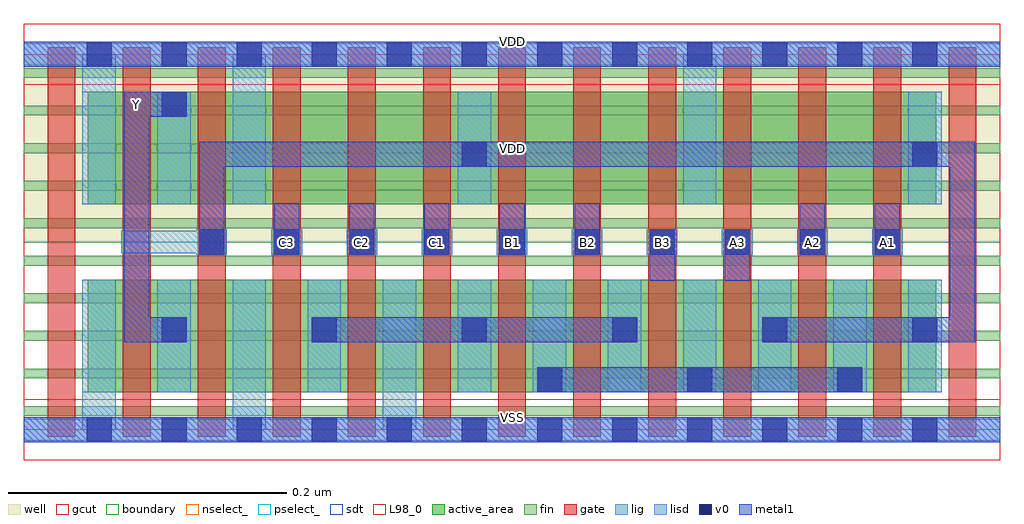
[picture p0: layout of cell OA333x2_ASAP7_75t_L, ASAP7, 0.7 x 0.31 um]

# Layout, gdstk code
import gdstk
lib = gdstk.Library(unit=1e-6, precision=2.5e-10)
def R(c, l, rs):  # rectangles x0, y0, x1, y1
    for r in rs: c.add(gdstk.rectangle(r[:2], r[2:], *l))
def A(c, l, x, y, w, h, nx, ny, dx, dy):  # array of equal rectangles
    R(c, l, [(x+i*dx, y+j*dy, x+i*dx+w, y+j*dy+h) for i in range(nx) for j in range(ny)])
def P(c, l, *ps):  # polygons
    for p in ps: c.add(gdstk.Polygon(p, *l))
well = (1, 0)
fin = (2, 0)
gate = (7, 0)
gcut = (10, 0)
active_area = (11, 0)
nselect_ = (12, 0)
pselect_ = (13, 0)
lig = (16, 0)
lisd = (17, 0)
v0 = (18, 0)
metal1 = (19, 0)
sdt = (88, 0)
L98_0 = (98, 0)
boundary = (100, 0)

oa333x2_asap7_75t_l = lib.new_cell('OA333x2_ASAP7_75t_L')
R(oa333x2_asap7_75t_l, well, [(0,0.135,0.702,0.27)])
A(oa333x2_asap7_75t_l, fin, 0, 0.01, 0.702, 0.007, 1, 10, 0, 0.027)
A(oa333x2_asap7_75t_l, gate, 0.017, -0.005, 0.02, 0.28, 13, 1, 0.054, 0)
R(oa333x2_asap7_75t_l, gcut, [(0,-0.022,0.702,0.022), (0,0.248,0.702,0.292)])
R(oa333x2_asap7_75t_l, active_area, [(0.046,0.027,0.656,0.108), (0.046,0.162,0.656,0.243)])
R(oa333x2_asap7_75t_l, nselect_, [(0,0,0.702,0.135)])
R(oa333x2_asap7_75t_l, pselect_, [(0,0.135,0.702,0.27)])
A(oa333x2_asap7_75t_l, lig, 0.124, 0.126, 0.022, 0.018, 10, 1, 0.054, 0)
R(oa333x2_asap7_75t_l, lig, [(0,-0.008,0.702,0.008), (0.07,0.127,0.146,0.143), (0,0.262,0.702,0.278)])
A(oa333x2_asap7_75t_l, lisd, 0.096, 0.027, 0.024, 0.081, 3, 1, 0.108, 0)
A(oa333x2_asap7_75t_l, lisd, 0.366, 0.027, 0.024, 0.081, 6, 1, 0.054, 0)
R(oa333x2_asap7_75t_l, lisd, [(0.042,0,0.066,0.108), (0.042,0,0.066,0.108), (0.15,0,0.174,0.108), (0.15,0,0.174,0.108), (0.258,0,0.282,0.108), (0.258,0,0.282,0.108), (0.042,0.162,0.066,0.27), (0.042,0.162,0.066,0.27), (0.096,0.162,0.12,0.243), (0.15,0.162,0.174,0.27), (0.15,0.162,0.174,0.27), (0.312,0.162,0.336,0.243), (0.474,0.162,0.498,0.27), (0.474,0.162,0.498,0.27), (0.636,0.162,0.66,0.243)])
A(oa333x2_asap7_75t_l, v0, 0.045, -0.009, 0.018, 0.018, 12, 2, 0.054, 0.27)
A(oa333x2_asap7_75t_l, v0, 0.369, 0.027, 0.018, 0.018, 3, 1, 0.108, 0)
A(oa333x2_asap7_75t_l, v0, 0.099, 0.063, 0.018, 0.018, 6, 1, 0.108, 0)
A(oa333x2_asap7_75t_l, v0, 0.126, 0.126, 0.018, 0.018, 10, 1, 0.054, 0)
R(oa333x2_asap7_75t_l, v0, [(0.315,0.189,0.333,0.207), (0.639,0.189,0.657,0.207), (0.099,0.225,0.117,0.243)])
A(oa333x2_asap7_75t_l, metal1, 0.369, 0.027, 0.018, 0.018, 3, 1, 0.108, 0)
A(oa333x2_asap7_75t_l, metal1, 0.099, 0.063, 0.018, 0.018, 6, 1, 0.108, 0)
A(oa333x2_asap7_75t_l, metal1, 0.126, 0.126, 0.018, 0.018, 10, 1, 0.054, 0)
A(oa333x2_asap7_75t_l, metal1, 0.18, 0.126, 0.018, 0.037, 5, 1, 0.054, 0)
R(oa333x2_asap7_75t_l, metal1, [(0,-0.009,0.702,0.009), (0.369,0.027,0.603,0.045), (0.207,0.063,0.441,0.081), (0.45,0.107,0.468,0.144), (0.504,0.107,0.522,0.144), (0.558,0.126,0.576,0.163), (0.612,0.126,0.63,0.163), (0.315,0.189,0.333,0.207), (0.639,0.189,0.657,0.207), (0.099,0.225,0.117,0.243), (0,0.261,0.702,0.279)])
P(oa333x2_asap7_75t_l, metal1, [(0.126,0.207),(0.126,0.126),(0.144,0.126),(0.144,0.189),(0.666,0.189),(0.666,0.081),(0.531,0.081),(0.531,0.063),(0.684,0.063),(0.684,0.207)],
  [(0.117,0.081),(0.09,0.081),(0.09,0.225),(0.117,0.225),(0.117,0.243),(0.072,0.243),(0.072,0.063),(0.117,0.063)])
A(oa333x2_asap7_75t_l, sdt, 0.042, 0.027, 0.024, 0.081, 3, 2, 0.054, 0.135)
A(oa333x2_asap7_75t_l, sdt, 0.15, 0.027, 0.024, 0.081, 3, 1, 0.054, 0)
A(oa333x2_asap7_75t_l, sdt, 0.258, 0.027, 0.024, 0.081, 8, 1, 0.054, 0)
A(oa333x2_asap7_75t_l, sdt, 0.15, 0.162, 0.024, 0.081, 3, 1, 0.162, 0)
R(oa333x2_asap7_75t_l, sdt, [(0.042,0.027,0.066,0.108), (0.042,0.162,0.066,0.243), (0.474,0.162,0.498,0.243), (0.636,0.162,0.66,0.243)])
R(oa333x2_asap7_75t_l, L98_0, [(0,0,0.702,0.27)])
R(oa333x2_asap7_75t_l, boundary, [(0,0,0.702,0.27)])
oa333x2_asap7_75t_l.add(gdstk.Label('VDD', (0.351,0.2025), layer=1, texttype=251))
oa333x2_asap7_75t_l.add(gdstk.Label('VSS', (0.351,-0.0675), layer=3, texttype=251))
oa333x2_asap7_75t_l.add(gdstk.Label('VSS', (0.351,0.009), layer=19, texttype=251))
oa333x2_asap7_75t_l.add(gdstk.Label('VDD', (0.351,0.279), layer=19, texttype=251))
oa333x2_asap7_75t_l.add(gdstk.Label('Y', (0.081,0.234), layer=19, texttype=251))
oa333x2_asap7_75t_l.add(gdstk.Label('C3', (0.189,0.135), layer=19, texttype=251))
oa333x2_asap7_75t_l.add(gdstk.Label('C2', (0.243,0.135), layer=19, texttype=251))
oa333x2_asap7_75t_l.add(gdstk.Label('C1', (0.297,0.135), layer=19, texttype=251))
oa333x2_asap7_75t_l.add(gdstk.Label('B1', (0.351,0.135), layer=19, texttype=251))
oa333x2_asap7_75t_l.add(gdstk.Label('B2', (0.405,0.135), layer=19, texttype=251))
oa333x2_asap7_75t_l.add(gdstk.Label('B3', (0.459,0.135), layer=19, texttype=251))
oa333x2_asap7_75t_l.add(gdstk.Label('A3', (0.513,0.135), layer=19, texttype=251))
oa333x2_asap7_75t_l.add(gdstk.Label('A2', (0.567,0.135), layer=19, texttype=251))
oa333x2_asap7_75t_l.add(gdstk.Label('A1', (0.621,0.135), layer=19, texttype=251))

lib.write_gds('OA333x2_ASAP7_75t_L.gds')
